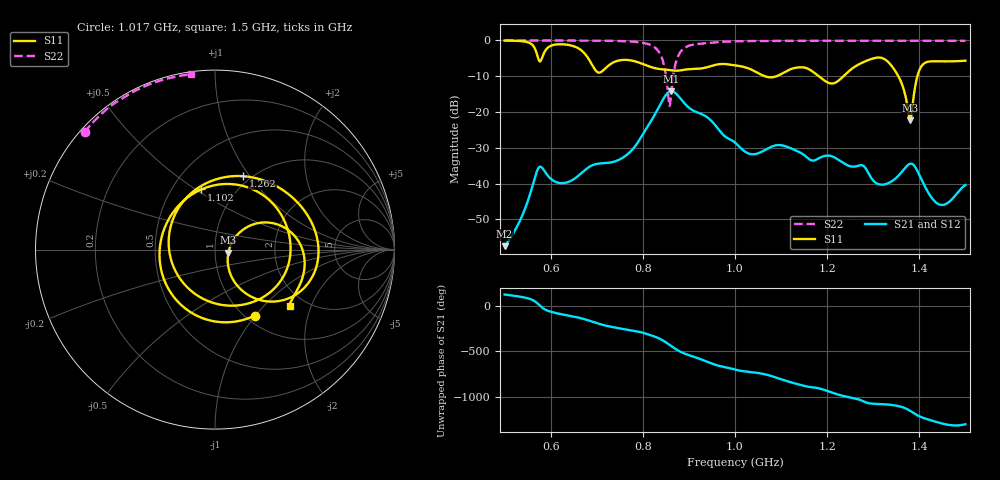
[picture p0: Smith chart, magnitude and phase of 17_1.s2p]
! TOUCHSTONE file generated by CST MICROWAVE STUDIO
! Date and time: Sat Nov 14 20:36:44 2020
! Project name: Scenario_1_Planar_Body_Tissue_Out_of_Line_v2.cst
! Parameters = {dy1=69.2; L_HA=400; Ltissue=700; MT=2.54; Rad_Dielectric=30; Rad_Lower=7.3; Rad_Upper=30; Wtissue=700; a_HA=580; a_WG=246; b_HA=500; b_WG=121; c_HA=0; c_WG=187; d_feed=85; dx1=173; h_feed=15; h_lower=18; h_upper=40; hfat=3; hgap=25; hmuscle=50; hskin=1.5}
! Header version: 2018
! Port assignment regex: !\s*Touchstone port\s*([0-9]+)\s*=\s*(CST MWS port|CST DS port)\s*([0-9]+|Zmin|Zmax)\s*\(\"(.*)\"\)(\s*mode\s*([0-9]+))?.*
! Touchstone port assignment:
! Touchstone port 1 = CST MWS port 1 ("")
! Touchstone port 2 = CST MWS port 2 ("")
# GHz S DB R 50
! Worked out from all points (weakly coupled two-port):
!   1003 points, 500 MHz to 1.5 GHz, reference 50 ohm
!   highest |S21| = -14.17 dB at 862 MHz (marker M1); lowest = -57.5 dB at 500 MHz (marker M2)
!   lowest |S11| = -22.3 dB at 1.38 GHz (marker M3), VSWR 1.17, Z = 58 - j1.98 ohm
!   |S11| at or under -10 dB: 1.065 GHz to 1.09 GHz (25.54 MHz wide, 2.37 % of centre); 1.182 GHz to 1.235 GHz (53.68 MHz wide, 4.44 % of centre); 1.354 GHz to 1.396 GHz (41.33 MHz wide, 3.01 % of centre)
!   |S22| runs from -18.3 to 0.0 dB; largest |S21 - S12| = 3.3e-06
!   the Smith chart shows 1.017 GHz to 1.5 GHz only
!   S11 on the Smith chart (normalised r, x): 1.017 GHz: 1.10, -0.99; 1.102 GHz: 0.69, +0.53; 1.262 GHz: 0.92, +0.93; 1.5 GHz: 1.65, -1.43
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0.5  -0.04 -121.8  -57.48 131.0  -57.48 131.0  -0.01 151.1
0.575  -5.69 -163.0  -35.41 15.3  -35.41 15.3  -0.02 146.0
0.627  -1.09 173.0  -39.86 -91.0  -39.86 -91.0  -0.03 142.0
0.667  -2.82 108.8  -37.04 -133.1  -37.04 -133.1  -0.04 138.4
0.693  -7.51 21.2  -34.74 -174.4  -34.74 -174.4  -0.06 135.6
0.717  -8.02 -95.8  -34.30 149.6  -34.30 149.6  -0.09 132.7
0.756  -5.45 167.0  -32.80 110.2  -32.80 110.2  -0.19 126.3
0.793  -6.25 99.2  -27.70 76.9  -27.70 76.9  -0.53 115.9
0.834  -7.94 15.9  -18.81 7.0  -18.81 7.0  -3.05 83.7
0.862  -8.34 -57.8  -14.17 -81.8  -14.17 -81.8  -14.08 -106.6
0.904  -8.01 -173.8  -19.17 172.3  -19.17 172.3  -1.32 164.2
0.946  -7.25 86.6  -22.13 93.6  -22.13 93.6  -0.66 149.6
1  -6.96 -25.7  -28.53 19.8  -28.53 19.8  -0.25 140.3
1.017  -7.34 -58.9  -30.60 1.9  -30.60 1.9  -0.20 138.0
1.102  -9.28 102.8  -29.32 -91.4  -29.32 -91.4  -0.12 129.5
1.167  -8.57 -46.9  -33.54 -176.7  -33.54 -176.7  -0.10 124.1
1.218  -11.79 177.3  -32.83 111.1  -32.83 111.1  -0.10 120.3
1.262  -7.18 69.3  -35.20 56.8  -35.20 56.8  -0.08 116.9
1.334  -6.22 -34.1  -39.81 -9.8  -39.81 -9.8  -0.08 111.5
1.38  -22.31 -12.8  -34.45 -77.9  -34.45 -77.9  -0.09 107.9
1.409  -6.57 5.2  -39.99 -157.3  -39.99 -157.3  -0.10 105.6
1.5  -5.66 -37.2  -40.41 133.1  -40.41 133.1  -0.12 97.9
